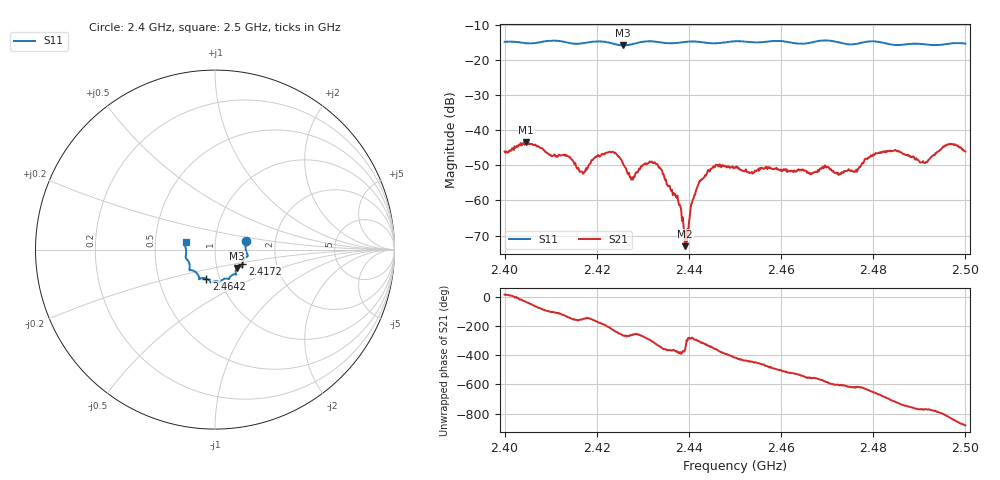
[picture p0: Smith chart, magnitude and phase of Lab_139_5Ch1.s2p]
# Hz S RI R 50
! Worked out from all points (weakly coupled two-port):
!   601 points, 2.4 GHz to 2.5 GHz, reference 50 ohm
!   highest |S21| = -43.34 dB at 2.4047 GHz (marker M1); lowest = -73.0 dB at 2.4392 GHz (marker M2)
!   lowest |S11| = -15.9 dB at 2.4257 GHz (marker M3), VSWR 1.38, Z = 62.5 - j13.1 ohm
!   |S11| at or under -10 dB: start of sweep to end of sweep
!   S12 and S22 are empty: the file has one direction only
!   S11 on the Smith chart (normalised r, x): 2.4 GHz: 1.41, +0.14; 2.4172 GHz: 1.34, -0.22; 2.4642 GHz: 0.86, -0.29; 2.5 GHz: 0.72, +0.06
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2.4e9  0.173 0.0484  0.00478 0.00132  0 0  0 0
2.404667e9  0.1697 0.0189  0.00553 -0.00397  0 0  0 0
2.413833e9  0.1678 -0.0459  -0.00324 -0.00271  0 0  0 0
2.416667e9  0.153 -0.0744  -0.00235 -0.00104  0 0  0 0
2.417167e9  0.1521 -0.0802  -0.00211 -0.00123  0 0  0 0
2.4225e9  0.1486 -0.0946  -0.00435 0.00217  0 0  0 0
2.425667e9  0.1229 -0.1019  -0.000306 0.00336  0 0  0 0
2.427667e9  0.115 -0.12  -0.000442 0.00208  0 0  0 0
2.430167e9  0.1177 -0.1371  0.000255 0.00322  0 0  0 0
2.433333e9  0.113 -0.1376  0.0027 0.00144  0 0  0 0
2.437667e9  0.0835 -0.1524  0.000938 -0.000296  0 0  0 0
2.439167e9  0.0797 -0.1601  0.000224 -7.56e-06  0 0  0 0
2.4425e9  0.0722 -0.1634  0.00123 0.00142  0 0  0 0
2.445833e9  0.0487 -0.1641  0.00322 0.000236  0 0  0 0
2.45e9  0.0285 -0.1809  0.00163 -0.00248  0 0  0 0
2.464167e9  -0.0482 -0.1617  -0.0027 -0.000113  0 0  0 0
2.466667e9  -0.0761 -0.159  -0.00234 0.000712  0 0  0 0
2.476e9  -0.1161 -0.1194  -0.000515 0.00256  0 0  0 0
2.483333e9  -0.141 -0.0901  0.00471 0.00195  0 0  0 0
2.490833e9  -0.1628 -0.0351  0.00223 -0.00284  0 0  0 0
2.496333e9  -0.1671 0.0224  -0.00128 -0.00614  0 0  0 0
2.5e9  -0.1639 0.0427  -0.00467 -0.00168  0 0  0 0
